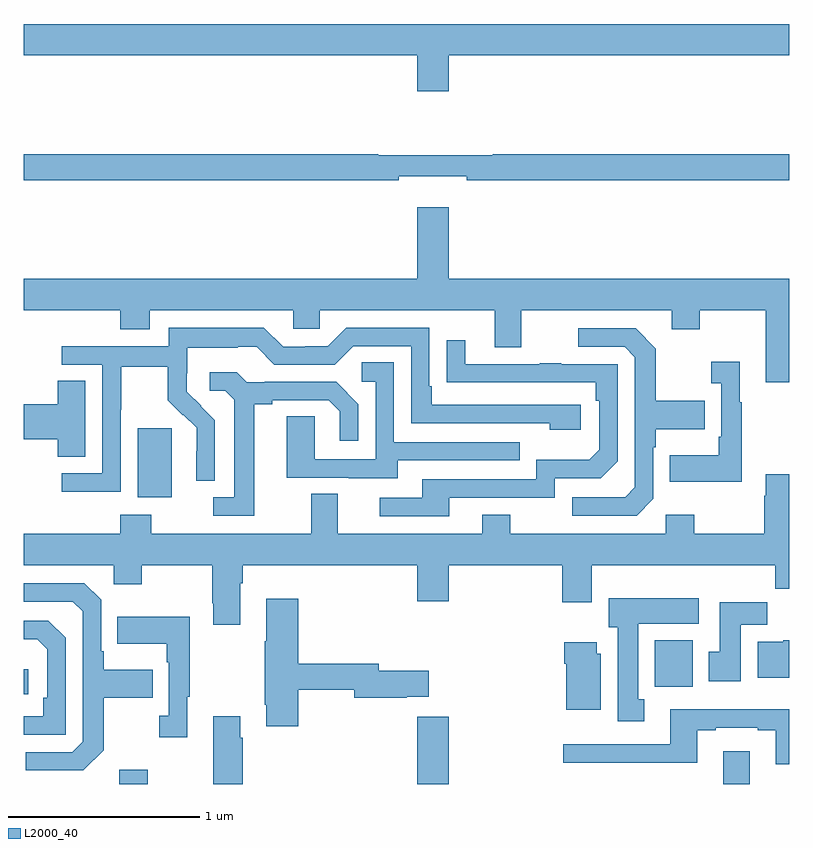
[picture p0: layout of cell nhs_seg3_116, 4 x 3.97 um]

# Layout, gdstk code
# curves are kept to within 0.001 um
import gdstk
lib = gdstk.Library(unit=1e-6, precision=1e-09)
def R(c, l, rs):  # rectangles x0, y0, x1, y1
    for r in rs: c.add(gdstk.rectangle(r[:2], r[2:], *l))
def P(c, l, *ps):  # polygons
    for p in ps: c.add(gdstk.Polygon(p, *l))
L2000_40 = (2000, 40)

nhs_seg3_116 = lib.new_cell('nhs_seg3_116')
R(nhs_seg3_116, L2000_40, [(115.499,738.4,115.647,738.475), (117.056,738.4,117.22,738.751), (118.655,738.4,118.795,738.571), (115,738.87,115.024,739), (118.298,738.908,118.495,739.15), (115.595,739.898,115.774,740.259)])
P(nhs_seg3_116, L2000_40, [(117.22,742.208),(119,742.208),(119,742.372),(115,742.372),(115,742.208),(117.056,742.208),(117.056,742.02),(117.22,742.02)],
  [(116.96,741.575),(117.316,741.575),(117.316,741.556),(119,741.556),(119,741.692),(117.452,741.692),(117.452,741.685),(116.852,741.685),(116.852,741.692),(115,741.692),(115,741.556),(116.96,741.556)],
  [(119,741.04),(117.22,741.04),(117.22,741.415),(117.056,741.415),(117.056,741.04),(115,741.04),(115,740.876),(115.505,740.876),(115.505,740.777),(115.657,740.777),(115.657,740.876),(116.409,740.876),(116.409,740.778),(116.547,740.778),(116.547,740.876),(117.461,740.876),(117.461,740.682),(117.601,740.682),(117.601,740.876),(118.385,740.876),(118.385,740.777),(118.533,740.777),(118.533,740.876),(118.877,740.876),(118.877,740.499),(119,740.499)],
  [(115.506,740.356),(115.509,740.356),(115.509,740.58),(115.753,740.58),(115.753,740.405),(115.83,740.328),(115.833,740.331),(115.904,740.261),(115.904,740.138),(115.902,740.138),(115.902,739.984),(115.998,739.984),(115.998,740.302),(115.852,740.45),(115.852,740.547),(115.854,740.547),(115.854,740.681),(116.117,740.681),(116.117,740.685),(116.217,740.685),(116.31,740.592),(116.625,740.592),(116.721,740.688),(117.024,740.688),(117.024,740.286),(117.749,740.286),(117.749,740.252),(117.91,740.252),(117.91,740.382),(117.133,740.382),(117.133,740.479),(117.12,740.479),(117.12,740.784),(116.685,740.784),(116.589,740.688),(116.471,740.688),(116.471,740.685),(116.355,740.685),(116.255,740.785),(115.758,740.785),(115.758,740.688),(115.197,740.688),(115.197,740.592),(115.41,740.592),(115.41,740.025),(115.197,740.025),(115.197,739.927),(115.506,739.927)],
  [(118.29,739.89),(118.29,740.159),(118.303,740.159),(118.303,740.255),(118.559,740.255),(118.559,740.403),(118.303,740.403),(118.303,740.675),(118.197,740.781),(117.897,740.781),(117.897,740.685),(118.14,740.685),(118.194,740.631),(118.194,739.95),(118.143,739.899),(117.867,739.899),(117.867,739.803),(118.203,739.803)],
  [(117.223,739.896),(117.774,739.896),(117.774,739.998),(118.014,739.998),(118.104,740.088),(118.104,740.595),(117.809,740.595),(117.809,740.6),(117.697,740.6),(117.697,740.595),(117.307,740.595),(117.307,740.719),(117.211,740.719),(117.211,740.5),(117.988,740.499),(117.988,740.402),(118.008,740.402),(118.008,740.148),(117.955,740.095),(117.678,740.095),(117.678,739.992),(117.083,739.992),(117.083,739.896),(116.859,739.896),(116.859,739.8),(117.223,739.8)],
  [(118.753,740.395),(118.741,740.395),(118.741,740.608),(118.593,740.608),(118.593,740.495),(118.644,740.495),(118.644,740.215),(118.632,740.215),(118.632,740.119),(118.375,740.119),(118.375,739.979),(118.753,739.979)],
  [(116.953,740.091),(117.593,740.091),(117.593,740.187),(116.934,740.187),(116.934,740.603),(116.766,740.603),(116.766,740.502),(116.838,740.502),(116.838,740.097),(116.52,740.097),(116.52,740.321),(116.375,740.321),(116.375,740.001),(116.699,740.001),(116.699,739.997),(116.953,739.997)],
  [(116.203,740.384),(116.299,740.384),(116.299,740.406),(116.594,740.406),(116.651,740.349),(116.651,740.193),(116.748,740.193),(116.748,740.386),(116.632,740.502),(116.26,740.502),(116.26,740.499),(116.166,740.499),(116.114,740.551),(115.971,740.551),(115.971,740.454),(116.052,740.454),(116.099,740.407),(116.099,739.899),(115.989,739.899),(115.989,739.803),(116.203,739.803)],
  [(115.321,740.507),(115.178,740.507),(115.178,740.384),(115,740.384),(115,740.201),(115.178,740.201),(115.178,740.11),(115.321,740.11)],
  [(116.131,739.448),(116.144,739.448),(116.144,739.544),(117.056,739.544),(117.056,739.356),(117.22,739.356),(117.22,739.544),(117.815,739.544),(117.815,739.35),(117.967,739.35),(117.967,739.544),(118.927,739.544),(118.927,739.42),(119,739.42),(119,740.02),(118.877,740.02),(118.877,739.907),(118.87,739.907),(118.87,739.708),(118.503,739.708),(118.503,739.807),(118.356,739.807),(118.356,739.708),(117.543,739.708),(117.543,739.807),(117.395,739.807),(117.395,739.708),(116.641,739.708),(116.641,739.916),(116.501,739.916),(116.501,739.708),(115.665,739.708),(115.665,739.807),(115.505,739.807),(115.505,739.708),(115,739.708),(115,739.544),(115.47,739.544),(115.47,739.445),(115.617,739.445),(115.617,739.544),(115.984,739.544),(115.984,739.345),(115.991,739.345),(115.991,739.233),(116.131,739.233)],
  [(115.417,738.577),(115.417,738.85),(115.673,738.85),(115.673,738.997),(115.417,738.997),(115.417,739.093),(115.404,739.093),(115.404,739.362),(115.317,739.449),(115,739.449),(115,739.353),(115.257,739.353),(115.308,739.302),(115.308,738.621),(115.254,738.567),(115.011,738.567),(115.011,738.471),(115.311,738.471)],
  [(118.243,738.842),(118.21,738.842),(118.21,739.238),(118.528,739.238),(118.528,739.372),(118.058,739.372),(118.058,739.218),(118.103,739.218),(118.103,738.729),(118.243,738.729)],
  [(116.435,738.892),(116.726,738.892),(116.726,738.85),(117.002,738.85),(117.002,738.857),(117.115,738.857),(117.115,738.992),(116.854,738.992),(116.854,739.028),(116.435,739.028),(116.435,739.369),(116.267,739.369),(116.267,739.145),(116.26,739.145),(116.26,738.814),(116.267,738.814),(116.267,738.702),(116.435,738.702)],
  [(118.747,739.232),(118.886,739.232),(118.886,739.351),(118.637,739.351),(118.637,739.092),(118.58,739.092),(118.58,738.936),(118.747,738.936)],
  [(115.855,738.857),(115.867,738.857),(115.867,739.273),(115.489,739.273),(115.489,739.133),(115.746,739.133),(115.746,739.037),(115.758,739.037),(115.758,738.758),(115.707,738.758),(115.707,738.645),(115.855,738.645)],
  [(115.218,739.164),(115.128,739.254),(115,739.254),(115,739.157),(115.069,739.157),(115.122,739.104),(115.122,738.85),(115.102,738.85),(115.102,738.753),(115,738.753),(115,738.657),(115.218,738.657)],
  [(119,739.15),(118.968,739.15),(118.968,739.144),(118.835,739.144),(118.835,738.956),(119,738.956)],
  [(118.015,739.08),(117.994,739.08),(117.994,739.141),(117.824,739.141),(117.824,739.028),(117.836,739.028),(117.836,738.788),(118.015,738.788)],
  [(119,738.79),(118.379,738.79),(118.379,738.609),(117.819,738.609),(117.819,738.512),(118.519,738.512),(118.519,738.681),(118.615,738.681),(118.615,738.693),(118.835,738.693),(118.835,738.681),(118.931,738.681),(118.931,738.504),(119,738.504)],
  [(116.144,738.641),(116.131,738.641),(116.131,738.754),(115.991,738.754),(115.991,738.4),(116.144,738.4)])

lib.write_gds('nhs_seg3_116.gds')
